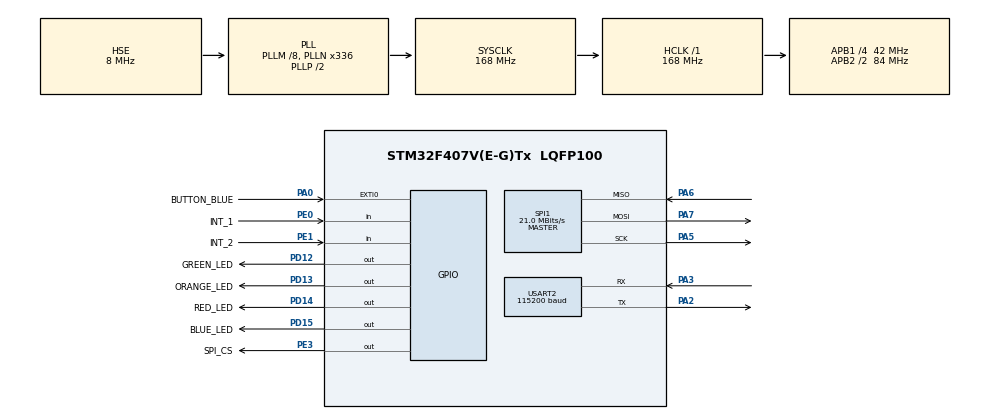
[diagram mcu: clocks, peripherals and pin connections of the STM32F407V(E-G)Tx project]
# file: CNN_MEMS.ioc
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Mcu.Family=STM32F4
Mcu.Name=STM32F407V(E-G)Tx
Mcu.Package=LQFP100
NVIC.PriorityGroup=NVIC_PRIORITYGROUP_4
NVIC.USART2_IRQn=true\:0\:0\:false\:false\:true\:true\:true
PA0-WKUP.GPIO_Label=BUTTON_BLUE
PA0-WKUP.GPIO_PuPd=GPIO_PULLDOWN
PA0-WKUP.Signal=GPXTI0
PA13.Mode=Serial_Wire
PA13.Signal=SYS_JTMS-SWDIO
PA14.Mode=Serial_Wire
PA14.Signal=SYS_JTCK-SWCLK
PA2.GPIO_Speed=GPIO_SPEED_FREQ_MEDIUM
PA2.Mode=Asynchronous
PA2.Signal=USART2_TX
PA3.GPIO_Speed=GPIO_SPEED_FREQ_MEDIUM
PA3.Mode=Asynchronous
PA3.Signal=USART2_RX
PA5.Mode=Full_Duplex_Master
PA5.Signal=SPI1_SCK
PA6.Mode=Full_Duplex_Master
PA6.Signal=SPI1_MISO
PA7.Mode=Full_Duplex_Master
PA7.Signal=SPI1_MOSI
PC14-OSC32_IN.Mode=LSE-External-Oscillator
PC14-OSC32_IN.Signal=RCC_OSC32_IN
PC15-OSC32_OUT.Mode=LSE-External-Oscillator
PC15-OSC32_OUT.Signal=RCC_OSC32_OUT
PD12.GPIO_Label=GREEN_LED
PD12.Signal=GPIO_Output
PD13.GPIO_Label=ORANGE_LED
PD13.Signal=GPIO_Output
PD14.GPIO_Label=RED_LED
PD14.Signal=GPIO_Output
PD15.GPIO_Label=BLUE_LED
PD15.Signal=GPIO_Output
PE0.GPIO_Label=INT_1
PE0.Signal=GPIO_Input
PE1.GPIO_Label=INT_2
PE1.Signal=GPIO_Input
PE3.GPIO_Label=SPI_CS
PE3.GPIO_Speed=GPIO_SPEED_FREQ_MEDIUM
PE3.PinState=GPIO_PIN_SET
PE3.Signal=GPIO_Output
PH0-OSC_IN.Mode=HSE-External-Oscillator
PH0-OSC_IN.Signal=RCC_OSC_IN
PH1-OSC_OUT.Mode=HSE-External-Oscillator
PH1-OSC_OUT.Signal=RCC_OSC_OUT
ProjectManager.HeapSize=0x800
ProjectManager.StackSize=0x800
ProjectManager.TargetToolchain=STM32CubeIDE
RCC.48MHZClocksFreq_Value=84000000
RCC.AHBFreq_Value=168000000
RCC.APB1CLKDivider=RCC_HCLK_DIV4
RCC.APB1Freq_Value=42000000
RCC.APB1TimFreq_Value=84000000
RCC.APB2CLKDivider=RCC_HCLK_DIV2
RCC.APB2Freq_Value=84000000
RCC.APB2TimFreq_Value=168000000
RCC.CortexFreq_Value=168000000
RCC.HCLKFreq_Value=168000000
RCC.HSE_VALUE=8000000
RCC.HSI_VALUE=16000000
RCC.PLLM=8
RCC.PLLN=336
RCC.PLLSourceVirtual=RCC_PLLSOURCE_HSE
RCC.SYSCLKFreq_VALUE=168000000
RCC.SYSCLKSource=RCC_SYSCLKSOURCE_PLLCLK
RCC.VCOOutputFreq_Value=336000000
SPI1.BaudRatePrescaler=SPI_BAUDRATEPRESCALER_4
SPI1.CRCCalculation=SPI_CRCCALCULATION_ENABLE
SPI1.CalculateBaudRate=21.0 MBits/s
SPI1.Direction=SPI_DIRECTION_2LINES
SPI1.Mode=SPI_MODE_MASTER
SPI1.VirtualType=VM_MASTER
STMicroelectronics.X-CUBE-AI.7.0.0.ActivationBufferSizeList=1272,1272
STMicroelectronics.X-CUBE-AI.7.0.0.HeapSize=0x800
STMicroelectronics.X-CUBE-AI.7.0.0.InternalRamActivationBufferMaxSize=AI_NETWORK_DATA_ACTIVATIONS_SIZE
STMicroelectronics.X-CUBE-AI.7.0.0.LatestDirectoryUsed-65b41387333a9b723d4444e70c77a83051592a4422ddf6ccf323a2fbaa6d6c0a=C\:\\Users\\Matteo\\Desktop\\ARM_project
STMicroelectronics.X-CUBE-AI.7.0.0.LatestDirectoryUsed-c804640e2fe68f55dc841c12563ab1e994474137bd909c098ebbc7729c5089ab=C\:\\Users\\Matteo\\Desktop\\ARM_project
STMicroelectronics.X-CUBE-AI.7.0.0.MaximumNumberOfInputLayer=1
STMicroelectronics.X-CUBE-AI.7.0.0.MaximumNumberOfOutputLayer=1
STMicroelectronics.X-CUBE-AI.7.0.0.MaximumSizeOfInputLayer=AI_NETWORK_IN_1_SIZE_BYTES
STMicroelectronics.X-CUBE-AI.7.0.0.MaximumSizeOfOutputLayer=AI_NETWORK_OUT_1_SIZE_BYTES
STMicroelectronics.X-CUBE-AI.7.0.0.ModelActualCompression-65b41387333a9b723d4444e70c77a83051592a4422ddf6ccf323a2fbaa6d6c0a=0.0
STMicroelectronics.X-CUBE-AI.7.0.0.ModelActualCompression-c804640e2fe68f55dc841c12563ab1e994474137bd909c098ebbc7729c5089ab=0.0
STMicroelectronics.X-CUBE-AI.7.0.0.ModelCompression-65b41387333a9b723d4444e70c77a83051592a4422ddf6ccf323a2fbaa6d6c0a=1
STMicroelectronics.X-CUBE-AI.7.0.0.ModelCompression-c804640e2fe68f55dc841c12563ab1e994474137bd909c098ebbc7729c5089ab=1
STMicroelectronics.X-CUBE-AI.7.0.0.ModelFlashOccupation-65b41387333a9b723d4444e70c77a83051592a4422ddf6ccf323a2fbaa6d6c0a=11916
STMicroelectronics.X-CUBE-AI.7.0.0.ModelFlashOccupation-c804640e2fe68f55dc841c12563ab1e994474137bd909c098ebbc7729c5089ab=11916
STMicroelectronics.X-CUBE-AI.7.0.0.ModelHashList=c804640e2fe68f55dc841c12563ab1e994474137bd909c098ebbc7729c5089ab;65b41387333a9b723d4444e70c77a83051592a4422ddf6ccf323a2fbaa6d6c0a
STMicroelectronics.X-CUBE-AI.7.0.0.ModelKind-65b41387333a9b723d4444e70c77a83051592a4422ddf6ccf323a2fbaa6d6c0a=KERAS
STMicroelectronics.X-CUBE-AI.7.0.0.ModelKind-c804640e2fe68f55dc841c12563ab1e994474137bd909c098ebbc7729c5089ab=KERAS
STMicroelectronics.X-CUBE-AI.7.0.0.ModelMacc-65b41387333a9b723d4444e70c77a83051592a4422ddf6ccf323a2fbaa6d6c0a=14928
STMicroelectronics.X-CUBE-AI.7.0.0.ModelMacc-c804640e2fe68f55dc841c12563ab1e994474137bd909c098ebbc7729c5089ab=14928
STMicroelectronics.X-CUBE-AI.7.0.0.ModelName-65b41387333a9b723d4444e70c77a83051592a4422ddf6ccf323a2fbaa6d6c0a=network_normalized
STMicroelectronics.X-CUBE-AI.7.0.0.ModelName-c804640e2fe68f55dc841c12563ab1e994474137bd909c098ebbc7729c5089ab=network
STMicroelectronics.X-CUBE-AI.7.0.0.ModelNameList=network,network_normalized
STMicroelectronics.X-CUBE-AI.7.0.0.ModelRamOccupation-65b41387333a9b723d4444e70c77a83051592a4422ddf6ccf323a2fbaa6d6c0a=1272
STMicroelectronics.X-CUBE-AI.7.0.0.ModelRamOccupation-c804640e2fe68f55dc841c12563ab1e994474137bd909c098ebbc7729c5089ab=1272
STMicroelectronics.X-CUBE-AI.7.0.0.ModelStructureFile-65b41387333a9b723d4444e70c77a83051592a4422ddf6ccf323a2fbaa6d6c0a=C\:\\Users\\Matteo\\Desktop\\ARM_project\\LIT_normalized.h5
STMicroelectronics.X-CUBE-AI.7.0.0.ModelStructureFile-c804640e2fe68f55dc841c12563ab1e994474137bd909c098ebbc7729c5089ab=C\:\\Users\\Matteo\\Desktop\\ARM_project\\CNN_MEMS_best_model.h5
STMicroelectronics.X-CUBE-AI.7.0.0.ModelType-65b41387333a9b723d4444e70c77a83051592a4422ddf6ccf323a2fbaa6d6c0a=Saved model
STMicroelectronics.X-CUBE-AI.7.0.0.ModelType-c804640e2fe68f55dc841c12563ab1e994474137bd909c098ebbc7729c5089ab=Saved model
STMicroelectronics.X-CUBE-AI.7.0.0.ReadyForCodeGeneration=true
STMicroelectronics.X-CUBE-AI.7.0.0.StackSize=0x800
STMicroelectronics.X-CUBE-AI.7.0.0.WorkingBufferStartAddrList=0xFFFFFFFF,0xFFFFFFFF
STMicroelectronics.X-CUBE-AI.7.0.0.XAaCUBEAaAICcArtificialOoIntelligenceJjCore=true
TIM3.Channel-Output\ Compare1\ No\ Output=TIM_CHANNEL_1
TIM3.OC1Preload=DISABLE
TIM3.Prescaler=1679
TIM3.Pulse-Output\ Compare1\ No\ Output=50000
TIM3.TIM_MasterOutputTrigger=TIM_TRGO_OC1REF
USART2.BaudRate=115200
USART2.VirtualMode=VM_ASYNC
VP_CRC_VS_CRC.Mode=CRC_Activate
VP_STMicroelectronics.X-CUBE-AI_VS_ArtificialOoIntelligenceJjXAaCUBEAaAI_7.0.0.Mode=ArtificialOoIntelligenceJjXAaCUBEAaAI
VP_TIM3_VS_no_output1.Mode=Output Compare1 No Output
board=custom

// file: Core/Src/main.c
/* USER CODE BEGIN Header */
/**
  ******************************************************************************
  * @file           : main.c
  * @brief          : Main program body
  ******************************************************************************
  * @attention
  *
  * <h2><center>&copy; Copyright (c) 2022 STMicroelectronics.
  * All rights reserved.</center></h2>
  *
  * This software component is licensed by ST under BSD 3-Clause license,
  * the "License"; You may not use this file except in compliance with the
  * License. You may obtain a copy of the License at:
  *                        opensource.org/licenses/BSD-3-Clause
  *
  ******************************************************************************
  */
/* USER CODE END Header */
#include "main.h"
#include "crc.h"
#include "spi.h"
#include "tim.h"
#include "usart.h"
#include "gpio.h"

/* USER CODE BEGIN Includes */
#include <stdio.h>
#include <math.h>
#include "stm32f4xx.h"
#include<string.h>
#include "stm32f4_discovery_lis3dsh.h"

#include "ai_datatypes_defines.h"
#include "ai_platform.h"
#include "network.h"
#include "network_data.h"

#include "network_normalized.h"
#include "network_normalized_data.h"

/* USER CODE END Includes */

/* USER CODE BEGIN PTD */
typedef enum {FAILED = 0, PASSED = !FAILED} TestStatus;

/* USER CODE END PTD */

/* USER CODE BEGIN PD */
#define TEST_LENGTH_SAMPLES  25 //==SIZE
#define SNR_THRESHOLD_F32    140.0f
#define BLOCK_SIZE            25
#define NUM_TAPS              25
#define MAX_BLOCKSIZE     	25
#define DELTA           (0.000001f)

#define CIRCLE 100
#define TICK   001
#define NONE   010
/* USER CODE END PD */

/* USER CODE BEGIN PV */
void Acc_Config(void);

uint8_t chRX = 0;
uint8_t dataReceived = 0;
uint8_t streamActive = 1;
uint8_t dataReady = 0;

volatile uint16_t ADC_Value;
extern uint32_t readyToSend;
extern uint8_t bufferRX[BLOCK_SIZE];
extern uint8_t bufferTX[BLOCK_SIZE];
extern uint8_t idxRX;
extern uint8_t idxTX;
extern uint8_t nBytesTX;

uint16_t idx = 0;
int16_t accData[SIZE][3][1];

/*** To make the samples coming from the accelerometers compatible with the ARM function "arm_fir_f32",
 *** we separate and transpose the columns of the matrix accData  ***/

float accDataTransposeX[SIZE];
float accDataTransposeY[SIZE];
float accDataTransposeZ[SIZE];

/* USER CODE END PV */

void SystemClock_Config(void);
/* USER CODE BEGIN PFP */
int my_circle[][3][1] = { //100 expected
	{114,     -61,      974},
    {108,     -68,      936},
    { -2,     -27,      924},
    { 81,    -103,     1226},
    { 922,    139,      805},
    { 552,    428,      624},
    { 441,     443,     422},
    {  95,    454,      573},
    {-544,     87,      786},
    {-405,    -99,     1361},
    {-102,   -205,     1179},
    { 247,   -150,     1129},
    { 295,     47,      831},
    {  93,      3,      942},
    {  75,     11,     1004},
    {  69,     10,      945},
    {  76,     10,      960},
    {  59,     13,      960},
    { 122,     20,      973},
    {  97,      4,      993},
    {  13,    -45,      960},
    { 116,     98,     1021},
    {  71,     61,      888},
    {  88,    157,      937},
    {  39,     62,     1037}};

int my_tick[][3][1] = { // expected
    { 20,      375,     912},
    { -19,     361,     798},
    { 98,      284,      68},
    { 408,    -111,    1402},
    { -45,    -115,    1352},
    { 57,     -151,    1950},
    { 120,    -151,     952},
    { -122,   -210,     297},
    { -951,    146,     413},
    { -353,    306,     741},
    { -345,    320,     779},
    { -379,    298,     826},
    { -432,    287,     813},
    { -396,    286,     825},
    { -417,    293,     821},
    { -415,    289,     866},
    { -366,    309,     793},
    { -361,    284,     813},
    { -399,    308,     874},
    { -380,    289,     789},
    { -406,    291,     842},
    { -382,    291,     845},
    { -379,    309,     809},
    { -417,    288,     843},
    { -405,    284,     798}};

float my_circle_normalized[][3][1] = { //100 expected
	{0.114,     -0.061,      0.974},
    {0.108,     -0.068,      0.936},
    { -0.02,     -0.027,      0.924},
    { 0.081,    -0.103,     0.926},
    { 0.922,    0.139,      0.805},
    { 0.552,    0.428,      0.624},
    { 0.441,     0.443,     0.422},
    {  0.095,    0.454,      0.573},
    {-0.544,     0.087,      0.786},
    {-0.405,    -0.099,     0.961},
    {-0.102,   -0.205,     0.979},
    { 0.247,   -0.150,     0.929},
    { 0.295,     0.047,      0.831},
    {  0.093,      0.003,      0.942},
    {  0.075,     0.011,     0.904},
    {  0.069,     0.010,      0.945},
    {  0.076,     0.010,      0.960},
    {  0.059,     0.013,      0.960},
    { 0.122,     0.020,      0.973},
    {  0.097,      0.004,      0.993},
    {  0.013,    -0.045,      0.960},
    { 0.116,     0.098,     0.921},
    {  0.071,     0.061,      0.888},
    {  0.088,    0.157,      0.937},
    {  0.039,     0.062,     0.937}};

float my_circle_normalized_1[][3][1] = { //100 expected

		{0.05834186,-0.03121801,0.49846469},

		{0.05527124,-0.03480041,0.4790174},

		{-0.00102354,-0.01381781,0.47287615},

		{0.04145343,-0.05271238,0.62743091},

		{0.47185261,0.07113613,0.41197544},

		{0.28249744,0.21903787,0.31934493},

		{0.22569089,0.22671443,0.21596725},

		{0.04861822,0.23234391,0.29324463},

		{-0.27840328,0.04452405,0.40225179},

		{-0.20726714,-0.0506653 ,0.69651996},

		{-0.05220061,-0.104913  ,0.60337769},

		{0.12640737,-0.07676561,0.57778915},

		{0.15097236,0.02405322,0.42528147},

		{0.04759468,0.00153531,0.48208802},

		{0.0383828 ,0.00562948,0.51381781},

		{0.03531218,0.00511771,0.48362334},

		{0.03889458,0.00511771,0.4912999} ,

		{0.03019447,0.00665302,0.4912999 },

		{0.06243603,0.01023541,0.49795292},

		{0.04964176,0.00204708,0.50818833},

		{0.00665302,-0.02302968,0.4912999 },

		{0.0593654 ,0.05015353,0.52251791},

		{0.03633572,0.03121801,0.45445241},

		{0.04503582,0.080348,0.47952917},

		{0.01995906,0.03172979,0.53070624}};

float my_circle_normalized_2[][3][1] = {
	{0.123,-0.335,0.886},
	{0.123,-0.335,0.886},
	{0.119,-0.374,0.884},
	{0.095,-0.335,0.914},
	{0.212,-0.346,0.851},
	{0.167,-0.352,0.941},
	{0.284,-0.315,0.980},
	{0.551,-0.370,0.835},
	{0.716,-0.222,0.922},
	{0.796,0.079,0.831},
	{0.372,0.307,0.940},
	{-0.183,0.405,0.317},
	{0.043,0.155,0.608},
	{-0.350,-0.074,1.00},
	{-0.237,-0.509,1.269},
	{0.040,-0.458,1.249},
	{0.453,-0.284,0.855},
	{0.318,-0.249,0.874},
	{0.207,-0.195,0.796},
	{0.039,-0.248,0.942},
	{0.203,-0.253,0.949},
	{0.027,-0.281,0.921},
	{0.165,-0.254,0.915},
	{0.142,-0.266,0.889},
	{0.180,-0.298,0.913}};

float my_tick_normalized[][3][1] = { // expected
    { 0.020,      0.375,     0.912},
    { -0.019,     0.361,     0.798},
    { 0.098,      0.284,      0.068},
    { 0.408,    -0.111,    0.902},
    { -0.045,    -0.115,    0.952},
    { 0.057,     -0.151,    0.950},
    { 0.120,    -0.151,     0.952},
    { -0.122,   -0.210,     0.297},
    { -0.951,    0.146,     0.413},
    { -0.353,    0.306,     0.741},
    { -0.345,    0.320,     0.779},
    { -0.379,    0.298,     0.826},
    { -0.432,    0.287,     0.813},
    { -0.396,    0.286,     0.825},
    { -0.417,    0.293,     0.821},
    { -0.415,    0.289,     0.866},
    { -0.366,    0.309,     0.793},
    { -0.361,    0.284,     0.813},
    { -0.399,    0.308,     0.874},
    { -0.380,    0.289,     0.789},
    { -0.406,    0.291,     0.842},
    { -0.382,    0.291,     0.845},
    { -0.379,    0.309,     0.809},
    { -0.417,    0.288,     0.843},
    { -0.405,    0.284,     0.798}};

float my_tick_normalized_1[][3][1] = // expected

		{{-0.00716479, 0.29682702,0.37922211},

		{-0.0209826 ,0.290174  ,0.43039918},

		{-0.05834186,0.2988741,0.41351075},

		{-0.0383828,0.30603889,0.38485159},

		{-0.03070624,0.30962129,0.39252815},

		{-0.04554759,0.28915046,0.30040942},

		{0.01125896,0.18423746,0.09825998},

		{0.16888434,0.04247697,0.47952917},

		{-0.06090072,-0.15455476,0.50102354},

		{-0.06345957,-0.18372569,0.70573183},

		{-0.0419652,-0.14636643,0.41504606},

		{0.01842375,-0.1345957 , 0.64380757},

		{-0.1468782 ,-0.16018424,0.48055271},

		{-0.29324463,0.02047083,0.25383828},

		{-0.20829069,0.10184237,0.32753327},

		{-0.22876151,0.16888434,0.42579324},

		{-0.19549642,0.21340839,0.29119754},

		{-0.26100307,0.2185261,0.314739},

		{-0.24872057,0.22978506,0.38741044},

		{-0.2221085,0.22927329,0.35823951},

		{-0.23336745,0.23899693,0.36796315},

		{-0.24616172,0.22773797,0.38587513},

		{-0.23183214,0.23592631,0.34288639},

		{-0.23490276,0.22569089,0.3828045},

		{-0.22876151,0.23592631,0.35056295}};

float my_none_normalized_1[][3][1] = {
	{-0.030,-0.048,0.917},
	{-0.009,-0.028,0.984},
	{-0.022,-0.046,0.972},
	{-0.007,-0.044,0.934},
	{-0.034,-0.058,0.974},
	{-0.018,-0.056,0.960},
	{-0.005,-0.055,0.967},
	{-0.021,-0.068,0.946},
	{0.017,-0.055,0.980},
	{-0.001,-0.078,0.956},
	{0.022,-0.068,0.990},
	{-0.01,-0.055,0.973},
	{-0.011,-0.062,0.979},
	{-0.004,-0.064,0.970},
	{0.014,-0.064,0.950},
	{-0.021,-0.059,0.983},
	{-0.07,-0.059,0.967},
	{-0.04,-0.060,0.987},
	{-0.08,-0.041,0.972},
	{-0.020,-0.077,0.988},
	{-0.015,-0.055,0.973},
	{0.011,-0.057,0.967},
	{0.053,-0.078,0.970},
	{0.001,-0.073,0.973},
	{0.034,-0.056,0.933}};

/* USER CODE END PFP */

/* USER CODE BEGIN 0 */
char *classes[]= {'c','t','n'};

volatile uint16_t ADC_Value;
extern uint32_t readyToSend;
//extern uint8_t bufferRX[RX_BUFFER_SIZE];
//extern uint8_t bufferTX[TX_BUFFER_SIZE];
extern uint8_t idxRX;
extern uint8_t idxTX;
extern uint8_t nBytesTX;

void Acc_Config(void);

/*** To make the samples coming from the accelerometers compatible with the ARM function "arm_fir_f32",
 *** we separate and transpose the columns of the matrix accData  ***/

/* ----------------------------------------------------------------------
* Declare Global variables
* ------------------------------------------------------------------- */

uint32_t blockSize = 25;

/******** Cycle counter defines  **********/
volatile unsigned int cyc[2];
volatile unsigned int *DWT_CYCCNT = (volatile unsigned int *)0xE0001004; 	// Cycle counter
volatile unsigned int *DWT_CONTROL= (volatile unsigned int *)0xE0001000;	// counter control
volatile unsigned int *SCB_DEMCR  = (volatile unsigned int *)0xE000EDFC;
#define STOPWATCH_START {cyc[0]=*DWT_CYCCNT;} 								// start counting
#define STOPWATCH_STOP  {cyc[1]=*DWT_CYCCNT; cyc[1]=cyc[1]-cyc[0];}			// stop counting, result is in cyc[1]

/* USER CODE END 0 */

int main(void)
{
  /* USER CODE BEGIN 1 */
	// init, reset and start the cycle counter
		*SCB_DEMCR = *SCB_DEMCR | 0x01000000;
		*DWT_CYCCNT = 0; 							// reset the counter
		*DWT_CONTROL = *DWT_CONTROL | 1 ; 			// enable the counter

		u_int8_t k;
		char buf[50]; //	just 4 strings
		  int buf_len = 0;
		  ai_error ai_err;
		  ai_i32 nbatch;
		  uint32_t timestamp;
		  float *y_val;

		  // Chunk of memory used to hold intermediate values for neural network
		  AI_ALIGNED(4) ai_u8 activations[AI_NETWORK_NORMALIZED_DATA_ACTIVATIONS_SIZE];

		  // Buffers used to store input and output tensors
		  AI_ALIGNED(4) ai_float in_data[AI_NETWORK_NORMALIZED_IN_1_SIZE_BYTES];
		  AI_ALIGNED(4) ai_float out_data[AI_NETWORK_NORMALIZED_OUT_1_SIZE_BYTES];
		  ////////////////////////////////AI_ALIGNED(4) ai_i8 my_samples =
		  // Pointer to our model
		  ai_handle network_normalized = AI_HANDLE_NULL;

		  // Initialize wrapper structs that hold pointers to data and info about the
		  // data (tensor height, width, channels)
		  ai_buffer ai_input[AI_NETWORK_NORMALIZED_IN_NUM] = AI_NETWORK_NORMALIZED_IN;
		  ai_buffer ai_output[AI_NETWORK_NORMALIZED_OUT_NUM] = AI_NETWORK_NORMALIZED_OUT;

		  // Set working memory and get weights/biases from model
		  /*ai_network_params ai_params1 = {
		    AI_NETWORK_DATA_WEIGHTS(ai_myacc_model_data_weights_get()),
		    AI_NETWORK_DATA_ACTIVATIONS(activations)
		  };*/
		  ai_network_params ai_params = AI_NETWORK_PARAMS_INIT(AI_NETWORK_NORMALIZED_DATA_WEIGHTS(ai_network_normalized_data_weights_get()),
				   AI_NETWORK_NORMALIZED_DATA_ACTIVATIONS(activations));
		  // Set pointers wrapper structs to our data buffers
		  ai_input[0].n_batches = 1;
		  ai_input[0].data = AI_HANDLE_PTR(in_data);
		  ai_output[0].n_batches = 1;
		  ai_output[0].data = AI_HANDLE_PTR(out_data);
  /* USER CODE END 1 */

  /* MCU Configuration--------------------------------------------------------*/

  /* Reset of all peripherals, Initializes the Flash interface and the Systick. */
  HAL_Init();

  /* Configure the system clock */
  SystemClock_Config();

  /* Initialize all configured peripherals */
  MX_GPIO_Init();
  MX_TIM3_Init();
  MX_USART2_UART_Init();
  MX_SPI1_Init();
  MX_CRC_Init();
  /* USER CODE BEGIN 2 */
  /* Initialize all configured peripherals */
  MX_GPIO_Init();
  MX_TIM3_Init();
  MX_USART2_UART_Init();
  MX_SPI1_Init();
  MX_CRC_Init();

  //LL_SPI_Enable(LIS3DSH_SPI);
    Acc_Config();

    // Start timer/counter
    HAL_TIM_Base_Start(&htim3);

    // Greetings!
    buf_len = sprintf(buf, "\r\n\r\nSTM32 X-Cube-AI test\r\n");
    HAL_UART_Transmit(&huart2, (uint8_t *)buf, buf_len, 100);

    // Create instance of neural network
    ai_err = ai_network_normalized_create(&network_normalized, AI_NETWORK_NORMALIZED_DATA_CONFIG);
    if (ai_err.type != AI_ERROR_NONE)
    {
      buf_len = sprintf(buf, "Error: could not create NN instance\r\n");
      HAL_UART_Transmit(&huart2, (uint8_t *)buf, buf_len, 100);
      while(1);
    }

    // Initialize neural network
    if (!ai_network_normalized_init(network_normalized, &ai_params))
    {
      buf_len = sprintf(buf, "Error: could not initialize NN\r\n");
      HAL_UART_Transmit(&huart2, (uint8_t *)buf, buf_len, 100);
      while(1);
    }
  /* USER CODE END 2 */

  /* Infinite loop */
  /* USER CODE BEGIN WHILE */
  while (1)
  {
	  buf_len = sprintf(buf, "Done: 25 samples Acc\r\n");
	  HAL_UART_Transmit(&huart2, (uint8_t *)buf, buf_len, 100);

	  if (dataReady) {

		  LIS3DSH_ReadACC(accData[idx++]);

		  if (idx == SIZE)
		  {
	  	        buf_len = sprintf(buf, "Done: 25 samples %d\r\n", accData[idx-1][0][0]);
	  	        HAL_UART_Transmit(&huart2, (uint8_t *)buf, buf_len, 100);
			  idx = 0;
			  }
			  dataReady = 0;
		  }
	  /* Fill input buffer (use test value) */
	  for (uint32_t i = 0; i < AI_NETWORK_NORMALIZED_IN_1_HEIGHT; i++)
	  {
		  for (uint32_t j = 0; j < AI_NETWORK_NORMALIZED_IN_1_WIDTH; j++)  {
			  ((ai_float*)in_data)[(i+j)] = ((ai_float)my_tick_normalized[i][j][0]); //my_samples
		  }
	  }

  	      // Get current timestamp
  	      timestamp = htim3.Instance->CNT;
  	      // Perform inference
  	      nbatch = ai_network_normalized_run(network_normalized, &ai_input[0], &ai_output[0]);
  	      if (nbatch != 1) {
  	        buf_len = sprintf(buf, "Error: could not run inference\r\n");
  	        HAL_UART_Transmit(&huart2, (uint8_t *)buf, buf_len, 100);
  	      }

  	      // Read output (predicted y) of neural network
  	    	  y_val = ((float *)out_data);

  		      k = 0;
  		      float max = y_val[k];
  			  if (y_val[1] > max){
  				  max = (float)y_val[1];
  				  k = 1;
  			  }
  			  if (y_val[2] > max){
  				  max = (int)y_val[2];
  				  k = 2;
  			  }

  	      // Print output of neural network along with inference time (microseconds)
  	      buf_len = sprintf(buf,
  	                        "Output: %f, %f, %f CLASS: %c\r\n",
  	                        y_val[0],y_val[1],y_val[2],
  	                        classes[k]);   //| Duration: %lu\r  htim3.Instance->CNT - timestamp,

  	      HAL_UART_Transmit(&huart2, (uint8_t *)buf, buf_len, 100);

  	      buf_len = sprintf(buf,
  	                        "input: %f, %f, %f \r\n",
							(ai_float)my_tick_normalized[0][0][0],(ai_float)my_circle_normalized[0][1][0],(ai_float)my_circle_normalized[0][2][0]);   //| Duration: %lu\r  htim3.Instance->CNT - timestamp,

  	      HAL_UART_Transmit(&huart2, (uint8_t *)buf, buf_len, 100);

  	      buf_len = sprintf(buf,
  	                        "AccData: %d, %d, %d CLASS: %c\r\n",
							accData[0][0][0],accData[0][1][0],accData[0][2][0],
  	                        classes[k]);   //| Duration: %lu\r  htim3.Instance->CNT - timestamp,

  	      HAL_UART_Transmit(&huart2, (uint8_t *)buf, buf_len, 100);

  	      // Wait before doing it again
  	      HAL_Delay(500);
    /* USER CODE END WHILE */

  }
}

void SystemClock_Config(void)
{
  RCC_OscInitTypeDef RCC_OscInitStruct = {0};
  RCC_ClkInitTypeDef RCC_ClkInitStruct = {0};

  /** Configure the main internal regulator output voltage
  */
  __HAL_RCC_PWR_CLK_ENABLE();
  __HAL_PWR_VOLTAGESCALING_CONFIG(PWR_REGULATOR_VOLTAGE_SCALE1);
  /** Initializes the RCC Oscillators according to the specified parameters
  * in the RCC_OscInitTypeDef structure.
  */
  RCC_OscInitStruct.OscillatorType = RCC_OSCILLATORTYPE_HSE;
  RCC_OscInitStruct.HSEState = RCC_HSE_ON;
  RCC_OscInitStruct.PLL.PLLState = RCC_PLL_ON;
  RCC_OscInitStruct.PLL.PLLSource = RCC_PLLSOURCE_HSE;
  RCC_OscInitStruct.PLL.PLLM = 8;
  RCC_OscInitStruct.PLL.PLLN = 336;
  RCC_OscInitStruct.PLL.PLLP = RCC_PLLP_DIV2;
  RCC_OscInitStruct.PLL.PLLQ = 4;
  if (HAL_RCC_OscConfig(&RCC_OscInitStruct) != HAL_OK)
  {
    Error_Handler();
  }
  /** Initializes the CPU, AHB and APB buses clocks
  */
  RCC_ClkInitStruct.ClockType = RCC_CLOCKTYPE_HCLK|RCC_CLOCKTYPE_SYSCLK
                              |RCC_CLOCKTYPE_PCLK1|RCC_CLOCKTYPE_PCLK2;
  RCC_ClkInitStruct.SYSCLKSource = RCC_SYSCLKSOURCE_PLLCLK;
  RCC_ClkInitStruct.AHBCLKDivider = RCC_SYSCLK_DIV1;
  RCC_ClkInitStruct.APB1CLKDivider = RCC_HCLK_DIV4;
  RCC_ClkInitStruct.APB2CLKDivider = RCC_HCLK_DIV2;

  if (HAL_RCC_ClockConfig(&RCC_ClkInitStruct, FLASH_LATENCY_5) != HAL_OK)
  {
    Error_Handler();
  }
}

/* USER CODE BEGIN 4 */
void Acc_Config(void)
{
	LIS3DSH_InitTypeDef AccInitStruct;

	AccInitStruct.Output_DataRate = LIS3DSH_DATARATE_12_5 ; // 10Hz SAMPLING
	AccInitStruct.Axes_Enable = LIS3DSH_XYZ_ENABLE;
	AccInitStruct.SPI_Wire = LIS3DSH_SERIALINTERFACE_4WIRE;
	AccInitStruct.Self_Test = LIS3DSH_SELFTEST_NORMAL;
	AccInitStruct.Full_Scale = LIS3DSH_FULLSCALE_2;
	AccInitStruct.Filter_BW = LIS3DSH_FILTER_BW_800;

	LIS3DSH_Init(&AccInitStruct);
}
/* USER CODE END 4 */

void Error_Handler(void)
{
  __disable_irq();
  while (1)
  {
  }
}

/************************ (C) COPYRIGHT STMicroelectronics *****END OF FILE****/
